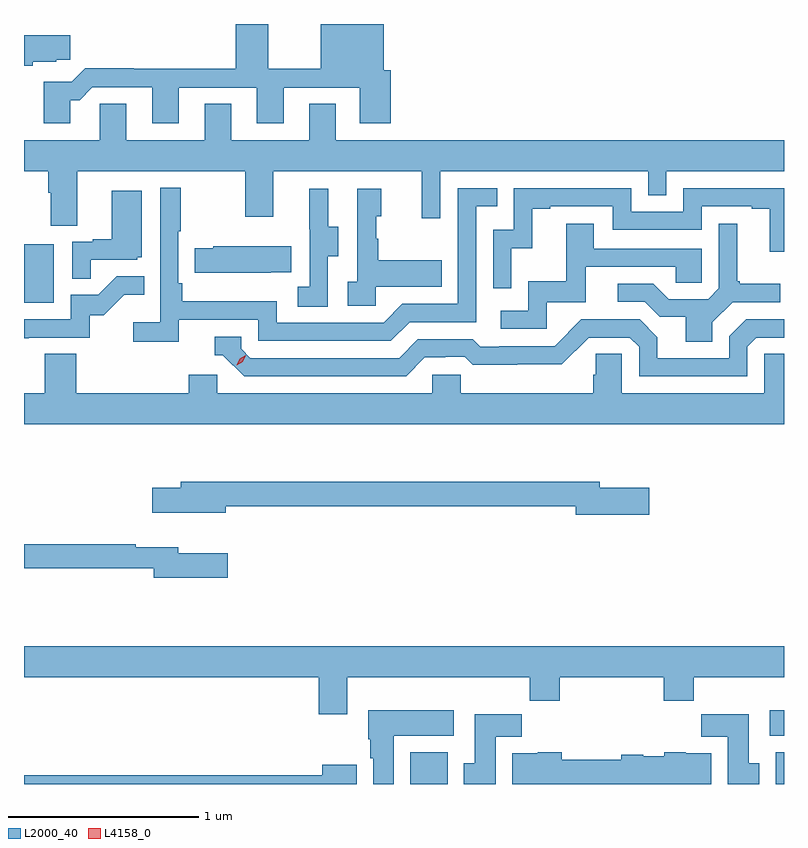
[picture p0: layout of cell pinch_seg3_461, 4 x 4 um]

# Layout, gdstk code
import gdstk
lib = gdstk.Library(unit=1e-6, precision=1e-09)
def R(c, l, rs):  # rectangles x0, y0, x1, y1
    for r in rs: c.add(gdstk.rectangle(r[:2], r[2:], *l))
def P(c, l, *ps):  # polygons
    for p in ps: c.add(gdstk.Polygon(p, *l))
L2000_40 = (2000, 40)
L4158_0 = (4158, 0)

pinch_seg3_461 = lib.new_cell('pinch_seg3_461')
R(pinch_seg3_461, L2000_40, [(915.056,683.039,915.253,683.206), (916.979,683.039,917.023,683.206), (916.947,683.294,917.023,683.428), (913.023,685.572,913.18,685.879)])
P(pinch_seg3_461, L2000_40, [(913.267,686.639),(913.316,686.639),(913.383,686.706),(913.697,686.706),(913.697,686.517),(913.837,686.517),(913.837,686.703),(914.249,686.703),(914.249,686.517),(914.389,686.517),(914.389,686.703),(914.789,686.703),(914.789,686.517),(914.954,686.517),(914.954,686.796),(914.917,686.796),(914.917,687.039),(914.585,687.039),(914.585,686.804),(914.308,686.804),(914.308,687.039),(914.138,687.039),(914.138,686.804),(913.601,686.804),(913.601,686.807),(913.346,686.807),(913.275,686.736),(913.127,686.736),(913.127,686.517),(913.267,686.517)],
  [(913.068,686.84),(913.194,686.84),(913.194,686.851),(913.267,686.851),(913.267,686.98),(913.023,686.98),(913.023,686.819),(913.068,686.819)],
  [(913.303,686.264),(914.188,686.264),(914.188,686.025),(914.335,686.025),(914.335,686.264),(915.116,686.264),(915.116,686.016),(915.213,686.016),(915.213,686.264),(916.308,686.264),(916.308,686.137),(916.404,686.137),(916.404,686.264),(917.023,686.264),(917.023,686.428),(914.665,686.428),(914.665,686.618),(914.525,686.618),(914.525,686.428),(914.113,686.428),(914.113,686.618),(913.973,686.618),(913.973,686.428),(913.561,686.428),(913.561,686.618),(913.422,686.618),(913.422,686.428),(913.023,686.428),(913.023,686.264),(913.151,686.264),(913.151,686.152),(913.163,686.152),(913.163,685.978),(913.303,685.978)],
  [(913.838,685.482),(914.256,685.482),(914.256,685.371),(914.953,685.371),(915.052,685.47),(915.402,685.47),(915.402,686.079),(915.515,686.079),(915.515,686.175),(915.306,686.175),(915.306,685.566),(915.015,685.566),(914.916,685.467),(914.352,685.467),(914.352,685.579),(913.856,685.579),(913.856,685.675),(913.836,685.675),(913.836,685.948),(913.849,685.948),(913.849,686.176),(913.74,686.176),(913.74,685.468),(913.599,685.468),(913.599,685.366),(913.838,685.366)],
  [(915.588,685.859),(915.698,685.859),(915.698,686.067),(915.793,686.067),(915.793,686.079),(916.122,686.079),(916.122,685.956),(916.59,685.956),(916.59,686.079),(916.853,686.079),(916.853,686.067),(916.949,686.067),(916.949,685.841),(917.023,685.841),(917.023,686.175),(916.494,686.175),(916.494,686.052),(916.218,686.052),(916.218,686.175),(915.6,686.175),(915.6,685.956),(915.492,685.956),(915.492,685.647),(915.588,685.647)],
  [(914.622,685.816),(914.677,685.816),(914.677,685.971),(914.623,685.971),(914.623,686.173),(914.525,686.173),(914.525,685.959),(914.526,685.959),(914.526,685.655),(914.463,685.655),(914.463,685.552),(914.622,685.552)],
  [(914.874,685.655),(915.221,685.655),(915.221,685.795),(914.887,685.795),(914.887,685.91),(914.877,685.91),(914.877,686.028),(914.902,686.028),(914.902,686.173),(914.778,686.173),(914.778,685.682),(914.727,685.682),(914.727,685.557),(914.874,685.557)],
  [(913.373,685.797),(913.62,685.797),(913.62,685.812),(913.642,685.812),(913.642,686.161),(913.484,686.161),(913.484,685.906),(913.385,685.906),(913.385,685.893),(913.278,685.893),(913.278,685.699),(913.373,685.699)],
  [(915.774,685.575),(915.979,685.575),(915.979,685.761),(916.453,685.761),(916.453,685.677),(916.59,685.677),(916.59,685.857),(916.021,685.857),(916.021,685.987),(915.877,685.987),(915.877,685.684),(915.678,685.684),(915.678,685.53),(915.531,685.53),(915.531,685.434),(915.774,685.434)],
  [(916.645,685.468),(916.752,685.575),(917.002,685.575),(917.002,685.672),(916.789,685.672),(916.789,685.684),(916.777,685.684),(916.777,685.987),(916.68,685.987),(916.68,685.647),(916.623,685.59),(916.417,685.59),(916.336,685.671),(916.149,685.671),(916.149,685.578),(916.29,685.578),(916.37,685.498),(916.505,685.498),(916.505,685.366),(916.645,685.366)],
  [(914.321,685.733),(914.429,685.733),(914.429,685.87),(914.019,685.87),(914.019,685.86),(913.921,685.86),(913.921,685.73),(914.321,685.73)],
  [(913.049,685.389),(913.368,685.389),(913.368,685.506),(913.444,685.506),(913.551,685.613),(913.655,685.613),(913.655,685.712),(913.511,685.712),(913.413,685.614),(913.269,685.614),(913.269,685.485),(913.023,685.485),(913.023,685.384),(913.049,685.384)],
  [(915.133,685.284),(915.24,685.284),(915.24,685.287),(915.343,685.287),(915.385,685.245),(915.618,685.245),(915.618,685.247),(915.854,685.247),(915.996,685.389),(916.212,685.389),(916.26,685.341),(916.26,685.185),(916.83,685.185),(916.83,685.341),(916.878,685.389),(917.023,685.389),(917.023,685.485),(916.824,685.485),(916.734,685.395),(916.734,685.281),(916.357,685.281),(916.357,685.391),(916.263,685.485),(915.957,685.485),(915.816,685.344),(915.523,685.344),(915.523,685.341),(915.424,685.341),(915.385,685.38),(915.096,685.38),(914.997,685.281),(914.214,685.281),(914.166,685.329),(914.166,685.392),(914.027,685.392),(914.027,685.296),(914.07,685.296),(914.181,685.185),(915.034,685.185)],
  [(917.023,685.304),(916.92,685.304),(916.92,685.096),(916.17,685.096),(916.17,685.304),(916.033,685.304),(916.033,685.194),(916.019,685.194),(916.019,685.096),(915.321,685.096),(915.321,685.194),(915.171,685.194),(915.171,685.096),(914.04,685.096),(914.04,685.194),(913.889,685.194),(913.889,685.096),(913.298,685.096),(913.298,685.304),(913.133,685.304),(913.133,685.096),(913.023,685.096),(913.023,684.932),(917.023,684.932)],
  [(916.315,684.597),(916.054,684.597),(916.054,684.631),(913.847,684.631),(913.847,684.597),(913.698,684.597),(913.698,684.467),(914.086,684.467),(914.086,684.502),(915.926,684.502),(915.926,684.455),(916.315,684.455)],
  [(914.095,684.253),(913.834,684.253),(913.834,684.284),(913.61,684.284),(913.61,684.302),(913.023,684.302),(913.023,684.174),(913.706,684.174),(913.706,684.124),(914.095,684.124)],
  [(914.725,683.6),(915.685,683.6),(915.685,683.476),(915.842,683.476),(915.842,683.6),(916.391,683.6),(916.391,683.476),(916.547,683.476),(916.547,683.6),(917.023,683.6),(917.023,683.764),(913.023,683.764),(913.023,683.6),(914.573,683.6),(914.573,683.406),(914.725,683.406)],
  [(914.968,683.294),(915.286,683.294),(915.286,683.428),(914.834,683.428),(914.834,683.274),(914.846,683.274),(914.846,683.174),(914.861,683.174),(914.861,683.039),(914.968,683.039)],
  [(916.894,683.148),(916.837,683.148),(916.837,683.407),(916.588,683.407),(916.588,683.288),(916.727,683.288),(916.727,683.039),(916.894,683.039)],
  [(915.505,683.288),(915.644,683.288),(915.644,683.407),(915.395,683.407),(915.395,683.148),(915.338,683.148),(915.338,683.039),(915.505,683.039)],
  [(916.639,683.2),(916.506,683.2),(916.506,683.206),(916.392,683.206),(916.392,683.185),(916.281,683.185),(916.281,683.193),(916.166,683.193),(916.166,683.167),(915.852,683.167),(915.852,683.206),(915.726,683.206),(915.726,683.2),(915.593,683.2),(915.593,683.039),(916.639,683.039)],
  [(914.773,683.14),(914.594,683.14),(914.594,683.084),(913.023,683.084),(913.023,683.039),(914.773,683.039)])
P(pinch_seg3_461, L4158_0, [(914.143,685.242),(914.143,685.243),(914.159,685.276),(914.189,685.295),(914.19,685.295),(914.19,685.295),(914.174,685.262),(914.143,685.242)])

lib.write_gds('pinch_seg3_461.gds')
